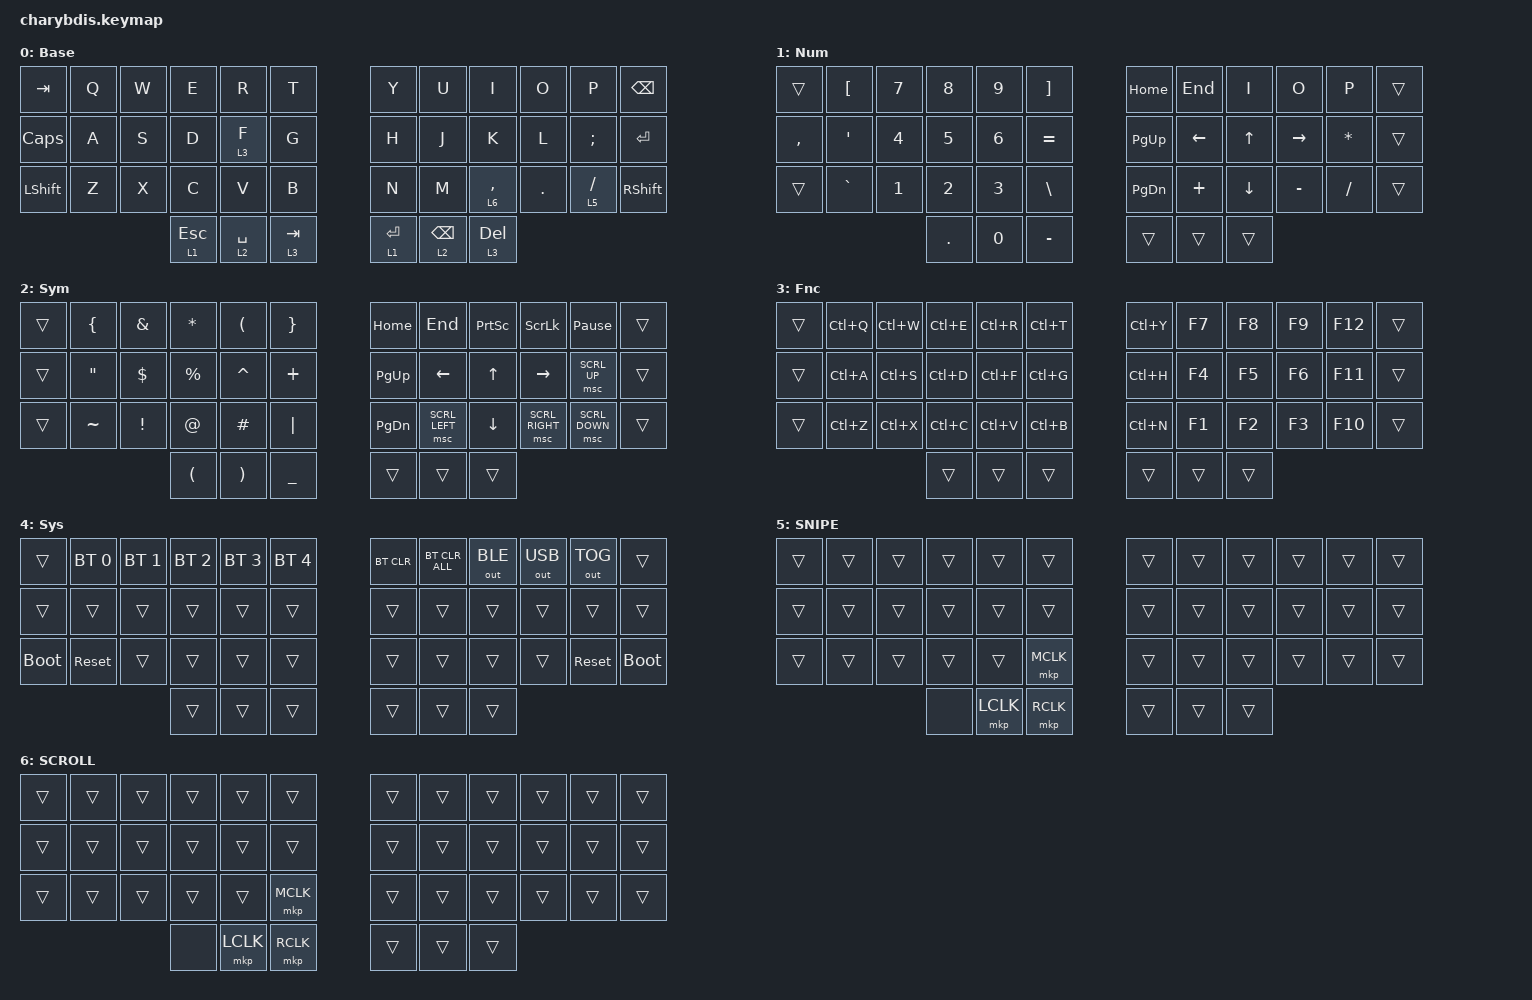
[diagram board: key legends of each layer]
#include <dt-bindings/zmk/mouse.h>
#include <behaviors.dtsi>
#include <dt-bindings/zmk/bt.h>
#include <dt-bindings/zmk/keys.h>
#include <dt-bindings/zmk/pointing.h>
#include <dt-bindings/zmk/outputs.h>

&lt { quick_tap_ms = <180>; };

&mt {
    quick_tap_ms = <150>;
    flavor = "tap-preferred";
};

/ {
    combos {
        compatible = "zmk,combos";

        combo_lshft {
            bindings = <&kp LSHFT>;
            key-positions = <16 15>;
            layers = <0 1 2 3>;
            timeout-ms = <50>;
            require-prior-idle-ms = <100>;
            slow-release;
        };

        combo_lctrl {
            bindings = <&kp LCTRL>;
            key-positions = <15 14>;
            layers = <0 1 2 3>;
            timeout-ms = <50>;
            require-prior-idle-ms = <100>;
            slow-release;
        };

        combo_lalt {
            bindings = <&kp LALT>;
            key-positions = <14 13>;
            layers = <0 1 2 3>;
            timeout-ms = <50>;
            require-prior-idle-ms = <100>;
            slow-release;
        };

        combo_lwin {
            bindings = <&kp LWIN>;
            key-positions = <17 16>;
            layers = <0 1 2 3>;
            timeout-ms = <50>;
            require-prior-idle-ms = <100>;
            slow-release;
        };

        combo_rshft {
            bindings = <&kp LSHFT>;
            key-positions = <19 20>;
            layers = <0 1 2 3>;
            timeout-ms = <50>;
            require-prior-idle-ms = <100>;
            slow-release;
        };

        combo_rctrl {
            bindings = <&kp LCTRL>;
            key-positions = <20 21>;
            layers = <0 1 2 3>;
            timeout-ms = <50>;
            require-prior-idle-ms = <100>;
            slow-release;
        };

        combo_ralt {
            bindings = <&kp LALT>;
            key-positions = <22 21>;
            layers = <0 1 2 3>;
            timeout-ms = <50>;
            require-prior-idle-ms = <100>;
            slow-release;
        };

        combo_rwin {
            bindings = <&kp LWIN>;
            key-positions = <18 19>;
            layers = <0 1 2 3>;
            timeout-ms = <50>;
            require-prior-idle-ms = <100>;
            slow-release;
        };

        combo_lshft_lctrl {
            bindings = <&kp LC(LSHFT)>;
            key-positions = <16 15 14>;
            layers = <0 1 2 3>;
            timeout-ms = <50>;
            require-prior-idle-ms = <100>;
            slow-release;
        };

        combo_lctrl_lalt {
            bindings = <&kp LA(LCTRL)>;
            key-positions = <15 14 13>;
            layers = <0 1 2 3>;
            timeout-ms = <50>;
            require-prior-idle-ms = <100>;
            slow-release;
        };

        combo_lshft_lalt {
            bindings = <&kp LA(LSHFT)>;
            key-positions = <16 15 13>;
            layers = <0 1 2 3>;
            timeout-ms = <50>;
            require-prior-idle-ms = <100>;
            slow-release;
        };

        combo_lctrl_lwin {
            bindings = <&kp LC(LWIN)>;
            key-positions = <16 15 13 14>;
            layers = <0 1 2 3>;
            timeout-ms = <50>;
            require-prior-idle-ms = <100>;
            slow-release;
        };

        comobo_rshft_rctrl {
            bindings = <&kp LC(LSHFT)>;
            key-positions = <19 20 21>;
            layers = <0 1 2 3>;
            timeout-ms = <50>;
            require-prior-idle-ms = <100>;
            slow-release;
        };

        combo_rctrl_ralt {
            bindings = <&kp LA(LCTRL)>;
            key-positions = <20 21 22>;
            layers = <0 1 2 3>;
            timeout-ms = <50>;
            require-prior-idle-ms = <100>;
            slow-release;
        };

        combo_rshft_ralt {
            bindings = <&kp LA(LSHFT)>;
            key-positions = <19 20 22>;
            layers = <0 1 2 3>;
            timeout-ms = <50>;
            require-prior-idle-ms = <100>;
            slow-release;
        };

        combo_rctrl_rwin {
            bindings = <&kp LC(LWIN)>;
            key-positions = <19 20 21 22>;
            layers = <0 1 2 3>;
            timeout-ms = <50>;
            require-prior-idle-ms = <100>;
            slow-release;
        };

        combo_lclk {
            bindings = <&mkp LCLK>;
            key-positions = <30 31>;
            timeout-ms = <50>;
            slow-release;
            require-prior-idle-ms = <100>;
            layers = <0 1 2 3>;
        };

        combo_rclk {
            bindings = <&mkp RCLK>;
            key-positions = <31 32>;
            timeout-ms = <50>;
            slow-release;
            require-prior-idle-ms = <100>;
            layers = <0 1 2 3>;
        };

        combo_mclk {
            bindings = <&mkp MCLK>;
            key-positions = <30 31 32>;
            timeout-ms = <50>;
            slow-release;
            require-prior-idle-ms = <100>;
            layers = <0 1 2 3>;
        };

        combo_lang {
            bindings = <&kp RALT>;
            key-positions = <19 21>;
            timeout-ms = <50>;
            slow-release;
            require-prior-idle-ms = <100>;
            layers = <0 1 2 3>;
        };

        combo_hanja {
            bindings = <&kp RCTRL>;
            key-positions = <20 22>;
            timeout-ms = <50>;
            slow-release;
            require-prior-idle-ms = <100>;
            layers = <0 1 2 3>;
        };

        combo_prev {
            bindings = <&mkp MB4>;
            key-positions = <18 30>;
            timeout-ms = <50>;
            slow-release;
            require-prior-idle-ms = <100>;
            layers = <0 1 2 3>;
        };

        combo_next {
            bindings = <&mkp MB5>;
            key-positions = <19 31>;
            timeout-ms = <50>;
            slow-release;
            require-prior-idle-ms = <100>;
            layers = <0 1 2 3>;
        };

        combo_plus {
            bindings = <&kp PLUS>;
            key-positions = <5 17>;
            timeout-ms = <50>;
            slow-release;
            require-prior-idle-ms = <100>;
            layers = <1>;
        };

        combo_minus {
            bindings = <&kp MINUS>;
            key-positions = <4 16>;
            timeout-ms = <50>;
            slow-release;
            require-prior-idle-ms = <100>;
            layers = <1>;
        };

        combo_multiply {
            bindings = <&kp STAR>;
            key-positions = <3 15>;
            timeout-ms = <50>;
            slow-release;
            require-prior-idle-ms = <100>;
            layers = <1>;
        };

        combo_divide {
            bindings = <&kp FSLH>;
            key-positions = <2 14>;
            timeout-ms = <50>;
            slow-release;
            require-prior-idle-ms = <100>;
            layers = <1>;
        };

        combo_enter {
            bindings = <&kp ENTER>;
            key-positions = <17 29>;
            timeout-ms = <50>;
            slow-release;
            require-prior-idle-ms = <100>;
            layers = <1>;
        };

        combo_comma {
            bindings = <&kp COMMA>;
            key-positions = <14 26>;
            timeout-ms = <50>;
            slow-release;
            require-prior-idle-ms = <100>;
            layers = <1>;
        };

        combo_lclk2 {
            bindings = <&mkp LCLK>;
            key-positions = <36 37>;
            timeout-ms = <50>;
            slow-release;
            require-prior-idle-ms = <100>;
            layers = <0 1 2 3>;
        };

        combo_rclk2 {
            bindings = <&mkp RCLK>;
            key-positions = <37 38>;
            timeout-ms = <50>;
            slow-release;
            require-prior-idle-ms = <100>;
            layers = <0 1 2 3>;
        };

        combo_prev2 {
            bindings = <&mkp MCLK>;
            key-positions = <15 27>;
            timeout-ms = <50>;
            slow-release;
            require-prior-idle-ms = <100>;
            layers = <0 1 2 3>;
        };

        combo_next2 {
            bindings = <&mkp MCLK>;
            key-positions = <16 28>;
            timeout-ms = <50>;
            slow-release;
            require-prior-idle-ms = <100>;
            layers = <0 1 2 3>;
        };

        combo_undo {
            bindings = <&mkp MCLK>;
            key-positions = <25 26>;
            timeout-ms = <50>;
            slow-release;
            require-prior-idle-ms = <100>;
            layers = <0 1 2 3>;
        };
        combo_redo {
            bindings = <&mkp MCLK>;
            key-positions = <28 29>;
            timeout-ms = <50>;
            slow-release;
            require-prior-idle-ms = <100>;
            layers = <0 1 2 3>;
        };
        combo_copy {
            bindings = <&mkp MCLK>;
            key-positions = <26 27>;
            timeout-ms = <50>;
            slow-release;
            require-prior-idle-ms = <100>;
            layers = <0 1 2 3>;
        };
        combo_cut {
            bindings = <&mkp MCLK>;
            key-positions = <26 28>;
            timeout-ms = <50>;
            slow-release;
            require-prior-idle-ms = <100>;
            layers = <0 1 2 3>;
        };

        combo_paste {
            bindings = <&mkp MCLK>;
            key-positions = <27 28>;
            timeout-ms = <50>;
            slow-release;
            require-prior-idle-ms = <100>;
            layers = <0 1 2 3>;
        };
    };

    keymap {
        compatible = "zmk,keymap";

        Base {
            bindings = <
&kp TAB    &kp Q  &kp W  &kp E      &kp R        &kp T        &kp Y        &kp U       &kp I        &kp O    &kp P        &kp BSPC
&kp CAPS   &kp A  &kp S  &kp D      &lt 3 F      &kp G        &kp H        &kp J       &kp K        &kp L    &kp SEMI     &kp ENTER
&kp LSHFT  &kp Z  &kp X  &kp C      &kp V        &kp B        &kp N        &kp M       &lt 6 COMMA  &kp DOT  &lt 5 SLASH  &kp RSHFT
                         &lt 1 ESC  &lt 2 SPACE  &lt 3 TAB    &lt 1 ENTER  &lt 2 BSPC  &lt 3 DEL
            >;
        };

        Num {
            bindings = <
&trans     &kp LBKT   &kp N7  &kp N8   &kp N9  &kp RBKT     &kp HOME   &kp END   &kp I     &kp O      &kp P      &trans
&kp COMMA  &kp SQT    &kp N4  &kp N5   &kp N6  &kp EQUAL    &kp PG_UP  &kp LEFT  &kp UP    &kp RIGHT  &kp ASTRK  &trans
&trans     &kp GRAVE  &kp N1  &kp N2   &kp N3  &kp BSLH     &kp PG_DN  &kp PLUS  &kp DOWN  &kp MINUS  &kp SLASH  &trans
                              &kp DOT  &kp N0  &kp MINUS    &trans     &trans    &trans
            >;
        };

        Sym {
            bindings = <
&trans  &kp LBRC   &kp AMPS  &kp ASTRK  &kp LPAR   &kp RBRC     &kp HOME   &kp END         &kp PRINTSCREEN  &kp SCROLLLOCK   &kp PAUSE_BREAK  &trans
&trans  &kp DQT    &kp DLLR  &kp PRCNT  &kp CARET  &kp PLUS     &kp PG_UP  &kp LEFT        &kp UP           &kp RIGHT        &msc SCRL_UP     &trans
&trans  &kp TILDE  &kp EXCL  &kp AT     &kp HASH   &kp PIPE     &kp PG_DN  &msc SCRL_LEFT  &kp DOWN         &msc SCRL_RIGHT  &msc SCRL_DOWN   &trans
                             &kp LPAR   &kp RPAR   &kp UNDER    &trans     &trans          &trans
            >;
        };

        Fnc {
            bindings = <
&trans  &kp LC(Q)  &kp LC(W)  &kp LC(E)  &kp LC(R)  &kp LC(T)    &kp LC(Y)  &kp F7  &kp F8  &kp F9  &kp F12  &trans
&trans  &kp LC(A)  &kp LC(S)  &kp LC(D)  &kp LC(F)  &kp LC(G)    &kp LC(H)  &kp F4  &kp F5  &kp F6  &kp F11  &trans
&trans  &kp LC(Z)  &kp LC(X)  &kp LC(C)  &kp LC(V)  &kp LC(B)    &kp LC(N)  &kp F1  &kp F2  &kp F3  &kp F10  &trans
                              &trans     &trans     &trans       &trans     &trans  &trans
            >;
        };

        Sys {
            bindings = <
&trans       &bt BT_SEL 0  &bt BT_SEL 1  &bt BT_SEL 2  &bt BT_SEL 3  &bt BT_SEL 4    &bt BT_CLR  &bt BT_CLR_ALL  &out OUT_BLE  &out OUT_USB  &out OUT_TOG  &trans
&trans       &trans        &trans        &trans        &trans        &trans          &trans      &trans          &trans        &trans        &trans        &trans
&bootloader  &sys_reset    &trans        &trans        &trans        &trans          &trans      &trans          &trans        &trans        &sys_reset    &bootloader
                                         &trans        &trans        &trans          &trans      &trans          &trans
            >;
        };

        SNIPE {
            bindings = <
&trans  &trans  &trans  &trans  &trans     &trans       &trans  &trans  &trans  &trans  &trans  &trans
&trans  &trans  &trans  &trans  &trans     &trans       &trans  &trans  &trans  &trans  &trans  &trans
&trans  &trans  &trans  &trans  &trans     &mkp MCLK    &trans  &trans  &trans  &trans  &trans  &trans
                        &none   &mkp LCLK  &mkp RCLK    &trans  &trans  &trans
            >;
        };

        SCROLL {
            bindings = <
&trans  &trans  &trans  &trans  &trans     &trans       &trans  &trans  &trans  &trans  &trans  &trans
&trans  &trans  &trans  &trans  &trans     &trans       &trans  &trans  &trans  &trans  &trans  &trans
&trans  &trans  &trans  &trans  &trans     &mkp MCLK    &trans  &trans  &trans  &trans  &trans  &trans
                        &none   &mkp LCLK  &mkp RCLK    &trans  &trans  &trans
            >;
        };
    };

    conditional_layers {
        compatible = "zmk,conditional-layers";

        combo_sys {
            if-layers = <1 3>;
            then-layer = <4>;
        };
    };

};
